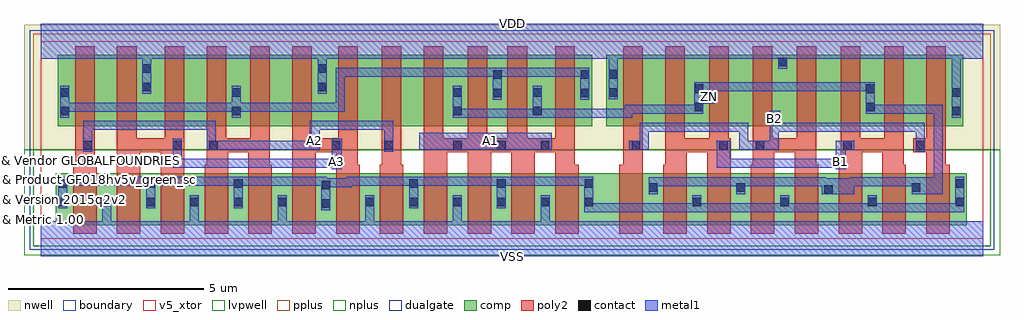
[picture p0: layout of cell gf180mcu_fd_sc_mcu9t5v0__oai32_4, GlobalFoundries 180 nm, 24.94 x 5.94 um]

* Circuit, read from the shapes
.subckt gf180mcu_fd_sc_mcu9t5v0__oai32_4 A1 A2 A3 B1 B2 VDD VSS ZN
XM1 VSS A2 n1 VSUBS nfet_05v0 w=1.32u l=0.6u m=4
XM2 n1 A3 VSS VSUBS nfet_05v0 w=1.32u l=0.6u m=4
XM3 VSS A1 n1 VSUBS nfet_05v0 w=1.32u l=0.6u m=4
XM4 ZN B2 n1 VSUBS nfet_05v0 w=1.32u l=0.6u m=4
XM5 n1 B1 ZN VSUBS nfet_05v0 w=1.32u l=0.6u m=4
XM6 n2 A2 n3 n4 pfet_05v0 w=1.83u l=0.5u
XM7 VDD A3 n2 n4 pfet_05v0 w=1.83u l=0.5u
XM8 n5 A3 VDD n4 pfet_05v0 w=1.83u l=0.5u
XM9 n3 A2 n5 n4 pfet_05v0 w=1.83u l=0.5u
XM10 n6 A2 n3 n4 pfet_05v0 w=1.83u l=0.5u
XM11 VDD A3 n6 n4 pfet_05v0 w=1.83u l=0.5u
XM12 n7 A3 VDD n4 pfet_05v0 w=1.83u l=0.5u
XM13 n8 A2 n7 n4 pfet_05v0 w=1.83u l=0.5u
XM14 ZN A1 n8 n4 pfet_05v0 w=1.83u l=0.5u
XM15 n3 A1 ZN n4 pfet_05v0 w=1.83u l=0.5u m=3
XM16 n9 B2 VDD n4 pfet_05v0 w=1.83u l=0.5u
XM17 ZN B1 n9 n4 pfet_05v0 w=1.83u l=0.5u
XM18 n10 B1 ZN n4 pfet_05v0 w=1.83u l=0.5u
XM19 VDD B2 n10 n4 pfet_05v0 w=1.83u l=0.5u
XM20 n11 B2 VDD n4 pfet_05v0 w=1.83u l=0.5u
XM21 ZN B1 n11 n4 pfet_05v0 w=1.83u l=0.5u
XM22 n12 B1 ZN n4 pfet_05v0 w=1.83u l=0.5u
XM23 VDD B2 n12 n4 pfet_05v0 w=1.83u l=0.5u
.ends

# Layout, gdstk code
import gdstk
lib = gdstk.Library(unit=1e-6, precision=1e-09)
def R(c, l, rs):  # rectangles x0, y0, x1, y1
    for r in rs: c.add(gdstk.rectangle(r[:2], r[2:], *l))
def A(c, l, x, y, w, h, nx, ny, dx, dy):  # array of equal rectangles
    R(c, l, [(x+i*dx, y+j*dy, x+i*dx+w, y+j*dy+h) for i in range(nx) for j in range(ny)])
def P(c, l, *ps):  # polygons
    for p in ps: c.add(gdstk.Polygon(p, *l))
boundary = (0, 0)
nwell = (21, 0)
comp = (22, 0)
poly2 = (30, 0)
pplus = (31, 0)
nplus = (32, 0)
contact = (33, 0)
metal1 = (34, 0)
dualgate = (55, 0)
v5_xtor = (112, 1)
lvpwell = (204, 0)

gf180mcu_fd_sc_mcu9t5v0_ = lib.new_cell('gf180mcu_fd_sc_mcu9t5v0__oai32_4')
R(gf180mcu_fd_sc_mcu9t5v0_, boundary, [(0,0,24.08,5.04)])
R(gf180mcu_fd_sc_mcu9t5v0_, nwell, [(-0.43,2.265,24.51,5.47)])
R(gf180mcu_fd_sc_mcu9t5v0_, comp, [(0.385,0.345,23.665,1.665), (0.435,2.865,14.085,4.695), (14.445,2.865,23.575,4.695)])
P(gf180mcu_fd_sc_mcu9t5v0_, poly2, [(0.825,0.125),(0.825,1.885),(0.875,1.885),(0.875,4.915),(1.375,4.915),(1.375,1.885),(1.425,1.885),(1.425,0.125)],
  [(1.945,0.125),(1.945,4.915),(2.445,4.915),(2.445,2.565),(3.165,2.565),(3.165,4.915),(3.665,4.915),(3.665,0.125),(3.065,0.125),(3.065,2.205),(2.545,2.205),(2.545,0.125)],
  [(4.185,0.125),(4.185,1.885),(4.235,1.885),(4.235,4.915),(4.735,4.915),(4.735,2.565),(5.355,2.565),(5.355,4.915),(5.855,4.915),(5.855,1.885),(5.905,1.885),(5.905,0.125),(5.305,0.125),(5.305,2.205),(4.785,2.205),(4.785,0.125)],
  [(6.425,0.125),(6.425,4.915),(6.925,4.915),(6.925,2.565),(7.595,2.565),(7.595,4.915),(8.095,4.915),(8.095,1.885),(8.145,1.885),(8.145,0.125),(7.545,0.125),(7.545,2.205),(7.025,2.205),(7.025,0.125)],
  [(8.665,0.125),(8.665,1.885),(8.715,1.885),(8.715,4.915),(9.215,4.915),(9.215,1.885),(9.265,1.885),(9.265,0.125)],
  [(9.785,0.125),(9.785,4.915),(10.285,4.915),(10.285,2.565),(10.905,2.565),(10.905,4.915),(11.405,4.915),(11.405,2.565),(11.925,2.565),(11.925,4.915),(12.425,4.915),(12.425,2.565),(13.145,2.565),(13.145,4.915),(13.645,4.915),(13.645,1.885),(13.745,1.885),(13.745,0.125),(13.145,0.125),(13.145,2.205),(12.625,2.205),(12.625,0.125),(12.025,0.125),(12.025,2.205),(11.505,2.205),(11.505,0.125),(10.905,0.125),(10.905,2.205),(10.385,2.205),(10.385,0.125)],
  [(14.785,0.125),(14.785,1.885),(14.885,1.885),(14.885,4.915),(15.385,4.915),(15.385,0.125)],
  [(15.905,0.125),(15.905,1.885),(15.955,1.885),(15.955,4.915),(16.455,4.915),(16.455,2.565),(17.075,2.565),(17.075,4.915),(17.575,4.915),(17.575,2.565),(17.625,2.565),(17.625,0.125),(17.025,0.125),(17.025,2.205),(16.505,2.205),(16.505,0.125)],
  [(18.145,0.125),(18.145,1.885),(18.195,1.885),(18.195,4.915),(18.695,4.915),(18.695,2.565),(19.315,2.565),(19.315,4.915),(19.815,4.915),(19.815,1.885),(19.865,1.885),(19.865,0.125),(19.265,0.125),(19.265,2.205),(18.745,2.205),(18.745,0.125)],
  [(20.385,0.125),(20.385,1.885),(20.435,1.885),(20.435,4.915),(20.935,4.915),(20.935,2.565),(21.555,2.565),(21.555,4.915),(22.055,4.915),(22.055,1.885),(22.105,1.885),(22.105,0.125),(21.505,0.125),(21.505,2.205),(20.985,2.205),(20.985,0.125)],
  [(22.625,0.125),(22.625,2.205),(22.295,2.205),(22.295,2.565),(22.625,2.565),(22.625,4.915),(23.125,4.915),(23.125,1.885),(23.225,1.885),(23.225,0.125)])
R(gf180mcu_fd_sc_mcu9t5v0_, pplus, [(-0.2,2.265,24.28,5.24)])
R(gf180mcu_fd_sc_mcu9t5v0_, nplus, [(-0.2,-0.2,24.28,2.265)])
A(gf180mcu_fd_sc_mcu9t5v0_, contact, 0.455, 0.83, 0.22, 0.22, 6, 1, 1.12, 0)
A(gf180mcu_fd_sc_mcu9t5v0_, contact, 8.295, 0.83, 0.22, 0.22, 6, 1, 1.12, 0)
A(gf180mcu_fd_sc_mcu9t5v0_, contact, 0.455, 1.3, 0.22, 0.22, 3, 1, 2.24, 0)
A(gf180mcu_fd_sc_mcu9t5v0_, contact, 9.415, 1.3, 0.22, 0.22, 3, 1, 2.24, 0)
A(gf180mcu_fd_sc_mcu9t5v0_, contact, 10.535, 2.275, 0.22, 0.22, 3, 1, 1.12, 0)
R(gf180mcu_fd_sc_mcu9t5v0_, contact, [(7.175,0.79,7.395,1.01), (21.135,0.825,21.355,1.045), (16.655,0.83,16.875,1.05), (18.895,0.83,19.115,1.05), (23.375,0.83,23.595,1.05), (20.015,1.145,20.235,1.365), (15.535,1.2,15.755,1.42), (17.775,1.2,17.995,1.42), (22.255,1.2,22.475,1.42), (7.175,1.26,7.395,1.48), (23.375,1.3,23.595,1.52), (1.085,2.275,1.305,2.495), (3.375,2.275,3.595,2.495), (4.305,2.275,4.525,2.495), (7.435,2.275,7.655,2.495), (8.785,2.275,9.005,2.495), (15.095,2.275,15.315,2.495), (17.335,2.275,17.555,2.495), (18.265,2.275,18.485,2.495), (20.505,2.275,20.725,2.495), (22.365,2.275,22.585,2.495), (0.505,3.15,0.725,3.37), (4.885,3.15,5.105,3.37), (10.535,3.15,10.755,3.37), (12.575,3.15,12.795,3.37), (23.285,3.15,23.505,3.37), (16.705,3.25,16.925,3.47), (21.085,3.25,21.305,3.47), (11.555,3.61,11.775,3.83), (13.795,3.61,14.015,3.83), (0.505,3.62,0.725,3.84), (4.885,3.62,5.105,3.84), (10.535,3.62,10.755,3.84), (12.575,3.62,12.795,3.84), (14.515,3.62,14.735,3.84), (23.285,3.62,23.505,3.84), (16.705,3.72,16.925,3.94), (21.085,3.72,21.305,3.94), (2.595,3.765,2.815,3.985), (7.075,3.765,7.295,3.985), (11.555,4.08,11.775,4.3), (13.795,4.08,14.015,4.3), (14.515,4.09,14.735,4.31), (2.595,4.235,2.815,4.455), (7.075,4.235,7.295,4.455), (18.845,4.405,19.065,4.625)])
R(gf180mcu_fd_sc_mcu9t5v0_, metal1, [(9.67,2.27,13.055,2.71)])
P(gf180mcu_fd_sc_mcu9t5v0_, metal1, [(7.43,1.77),(7.43,1.81),(3.37,1.81),(3.37,2.555),(3.6,2.555),(3.6,2.04),(7.43,2.04),(7.43,2.555),(7.69,2.555),(7.69,1.77)],
  [(1.08,2.215),(1.08,3.015),(4.475,3.015),(4.475,2.5),(6.87,2.5),(6.87,3.015),(9.01,3.015),(9.01,2.215),(8.78,2.215),(8.78,2.785),(7.13,2.785),(7.13,2.27),(4.245,2.27),(4.245,2.785),(1.31,2.785),(1.31,2.215)],
  [(0.5,3.09),(0.5,3.9),(0.73,3.9),(0.73,3.475),(4.88,3.475),(4.88,3.9),(5.11,3.9),(5.11,3.475),(7.53,3.475),(7.53,4.36),(14.02,4.36),(14.02,3.55),(13.79,3.55),(13.79,4.13),(11.78,4.13),(11.78,3.55),(11.55,3.55),(11.55,4.13),(7.76,4.13),(7.76,3.245),(5.11,3.245),(5.11,3.09),(4.88,3.09),(4.88,3.245),(0.73,3.245),(0.73,3.09)],
  [(20.31,1.77),(20.31,1.81),(17.275,1.81),(17.275,2.5),(17.615,2.5),(17.615,2.04),(20.31,2.04),(20.31,2.5),(20.785,2.5),(20.785,2.27),(20.57,2.27),(20.57,1.77)],
  [(22.36,2.215),(22.36,2.73),(18.86,2.73),(18.86,2.27),(17.845,2.27),(17.845,2.73),(15.535,2.73),(15.535,2.27),(15.035,2.27),(15.035,2.5),(15.305,2.5),(15.305,2.96),(18.075,2.96),(18.075,2.5),(18.63,2.5),(18.63,3.27),(18.89,3.27),(18.89,2.96),(22.59,2.96),(22.59,2.215)],
  [(15.53,1.14),(15.53,1.57),(20.07,1.57),(20.07,1.54),(20.675,1.54),(20.675,1.565),(22.82,1.565),(22.82,3.19),(21.08,3.19),(21.08,3.77),(17.21,3.77),(17.21,3.45),(16.93,3.45),(16.93,3.19),(15.115,3.19),(15.115,3.09),(10.53,3.09),(10.53,3.9),(10.76,3.9),(10.76,3.32),(12.57,3.32),(12.57,3.9),(12.8,3.9),(12.8,3.32),(14.925,3.32),(14.925,3.42),(16.7,3.42),(16.7,4),(21.31,4),(21.31,3.42),(23.05,3.42),(23.05,1.14),(22.25,1.14),(22.25,1.335),(20.78,1.335),(20.78,1.14),(19.955,1.14),(19.955,1.34),(18,1.34),(18,1.14),(17.77,1.14),(17.77,1.34),(15.76,1.34),(15.76,1.14)],
  [(13.89,0.68),(13.89,1.35),(11.88,1.35),(11.88,0.77),(11.65,0.77),(11.65,1.35),(9.64,1.35),(9.64,0.77),(9.41,0.77),(9.41,1.35),(7.95,1.35),(7.95,1.31),(7.4,1.31),(7.4,0.73),(7.17,0.73),(7.17,1.35),(5.16,1.35),(5.16,0.77),(4.93,0.77),(4.93,1.35),(2.92,1.35),(2.92,0.77),(2.69,0.77),(2.69,1.35),(0.68,1.35),(0.68,0.77),(0.45,0.77),(0.45,1.58),(7.3,1.58),(7.3,1.54),(7.82,1.54),(7.82,1.58),(14.12,1.58),(14.12,0.91),(16.65,0.91),(16.65,1.11),(16.88,1.11),(16.88,0.91),(18.89,0.91),(18.89,1.11),(19.12,1.11),(19.12,0.91),(21.13,0.91),(21.13,1.105),(21.36,1.105),(21.36,0.91),(23.37,0.91),(23.37,1.58),(23.6,1.58),(23.6,0.68)],
  [(0,-0.45),(0,0.45),(1.57,0.45),(1.57,1.11),(1.8,1.11),(1.8,0.45),(3.81,0.45),(3.81,1.11),(4.04,1.11),(4.04,0.45),(6.05,0.45),(6.05,1.11),(6.28,1.11),(6.28,0.45),(8.29,0.45),(8.29,1.11),(8.52,1.11),(8.52,0.45),(10.53,0.45),(10.53,1.11),(10.76,1.11),(10.76,0.45),(12.77,0.45),(12.77,1.11),(13,1.11),(13,0.45),(24.08,0.45),(24.08,-0.45)],
  [(23.28,3.09),(23.28,4.59),(19.07,4.59),(19.07,4.345),(18.84,4.345),(18.84,4.59),(14.74,4.59),(14.74,3.56),(14.51,3.56),(14.51,4.59),(7.3,4.59),(7.3,3.705),(7.07,3.705),(7.07,4.59),(2.82,4.59),(2.82,3.705),(2.59,3.705),(2.59,4.59),(0,4.59),(0,5.49),(24.08,5.49),(24.08,4.59),(23.51,4.59),(23.51,3.09)])
R(gf180mcu_fd_sc_mcu9t5v0_, dualgate, [(-0.28,-0.28,24.36,5.32)])
R(gf180mcu_fd_sc_mcu9t5v0_, v5_xtor, [(0,0,24.08,5.04)])
R(gf180mcu_fd_sc_mcu9t5v0_, lvpwell, [(-0.43,-0.43,24.51,2.265)])
gf180mcu_fd_sc_mcu9t5v0_.add(gdstk.Label('A1', (11.48,2.52), layer=34, texttype=10))
gf180mcu_fd_sc_mcu9t5v0_.add(gdstk.Label('A2', (7,2.52), layer=34, texttype=10))
gf180mcu_fd_sc_mcu9t5v0_.add(gdstk.Label('A3', (7.56,1.96), layer=34, texttype=10))
gf180mcu_fd_sc_mcu9t5v0_.add(gdstk.Label('B1', (20.44,1.96), layer=34, texttype=10))
gf180mcu_fd_sc_mcu9t5v0_.add(gdstk.Label('B2', (18.76,3.08), layer=34, texttype=10))
gf180mcu_fd_sc_mcu9t5v0_.add(gdstk.Label('VDD', (12.04,5.49), layer=34, texttype=10))
gf180mcu_fd_sc_mcu9t5v0_.add(gdstk.Label('VSS', (12.04,-0.45), layer=34, texttype=10))
gf180mcu_fd_sc_mcu9t5v0_.add(gdstk.Label('ZN', (17.08,3.64), layer=34, texttype=10))
gf180mcu_fd_sc_mcu9t5v0_.add(gdstk.Label('& Vendor GLOBALFOUNDRIES', (0,2), layer=63, texttype=63))
gf180mcu_fd_sc_mcu9t5v0_.add(gdstk.Label('& Product GF018hv5v_green_sc9', (0,1.5), layer=63, texttype=63))
gf180mcu_fd_sc_mcu9t5v0_.add(gdstk.Label('& Version 2015q2v2', (0,1), layer=63, texttype=63))
gf180mcu_fd_sc_mcu9t5v0_.add(gdstk.Label('& Metric 1.00', (0,0.5), layer=63, texttype=63))

lib.write_gds('gf180mcu_fd_sc_mcu9t5v0__oai32_4.gds')
